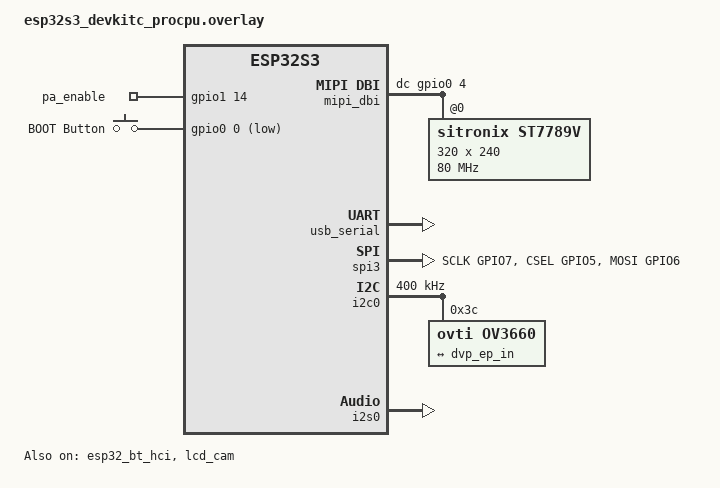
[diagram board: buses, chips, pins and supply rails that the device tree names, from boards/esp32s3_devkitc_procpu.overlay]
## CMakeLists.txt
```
cmake_minimum_required(VERSION 3.27)

# Force ninja to use response files for compile/link commands.
# Windows cmd.exe wraps long ninja commands ("cd /D ... && ...") and
# ccache+gcc lose track of -c source.c when the wrapped command exceeds
# ~8K characters. Response files (gcc @file syntax) keep cmd lines short.
set(CMAKE_NINJA_FORCE_RESPONSE_FILE 1 CACHE INTERNAL "")
if(POLICY CMP0151)
    cmake_policy(SET CMP0151 NEW)
endif()

find_package(Zephyr REQUIRED HINTS $ENV{ZEPHYR_BASE})
project(launcher_nes)

# ── Core sources (slim — no AI service / TLS / network) ──
target_sources(app PRIVATE
    src/main.c
    src/boot_splash.c
    src/app_manager.c
    src/launcher_ui.c
    src/ble_hid.c
    src/audio.c
    src/base64.c
)

# ── App sources (placeholders kept; only NES will eventually launch) ──
target_sources(app PRIVATE
    src/apps/app_ai_assistant.c
    src/apps/app_camera.c
    src/apps/app_nes.c
    src/apps/app_photos.c
    src/apps/app_terminal.c
    src/apps/app_music.c
    src/apps/app_face.c
    src/apps/app_imu.c
)

# ── Embed 30s PCM clip into firmware as a C array (used by app_music) ──
generate_inc_file_for_target(
    app
    src/apps/song1_30s.pcm
    ${ZEPHYR_BINARY_DIR}/include/generated/song1_30s.pcm.inc
)

# ──────────────────────────────────────────────────────────────────────────────
#  NES emulator (nofrendo) integration
#  Step 2: compile-only verification — sources are pulled into the link via
#  a forced reference in main.c, but nofrendo_main() is NEVER actually called
#  yet. HOME launcher must keep working as before. Real launching of NES from
#  the icon is the next step.
# ──────────────────────────────────────────────────────────────────────────────

# nofrendo source location (from west-managed esp32-nesemu)
get_filename_component(WEST_TOPDIR ${ZEPHYR_BASE} DIRECTORY)
set(NOFRENDO_DIR ${WEST_TOPDIR}/modules/esp32-nesemu/components/nofrendo)

if(NOT IS_DIRECTORY "${NOFRENDO_DIR}")
    message(FATAL_ERROR
        "nofrendo not found at ${NOFRENDO_DIR}\n"
        "Run:  west update\n"
        "Or:   git clone https://github.com/espressif/esp32-nesemu "
        "${WEST_TOPDIR}/modules/esp32-nesemu")
endif()

# Collect all nofrendo .c sources
file(GLOB NOFRENDO_SRCS_ROOT  "${NOFRENDO_DIR}/*.c")
file(GLOB NOFRENDO_SRCS_CPU   "${NOFRENDO_DIR}/cpu/*.c")
file(GLOB NOFRENDO_SRCS_SNSS  "${NOFRENDO_DIR}/libsnss/*.c")
file(GLOB NOFRENDO_SRCS_MAP   "${NOFRENDO_DIR}/mappers/*.c")
file(GLOB NOFRENDO_SRCS_NES   "${NOFRENDO_DIR}/nes/*.c")
file(GLOB NOFRENDO_SRCS_SND   "${NOFRENDO_DIR}/sndhrdw/*.c")

set(NOFRENDO_SRCS
    ${NOFRENDO_SRCS_ROOT}
    ${NOFRENDO_SRCS_CPU}
    ${NOFRENDO_SRCS_SNSS}
    ${NOFRENDO_SRCS_MAP}
    ${NOFRENDO_SRCS_NES}
    ${NOFRENDO_SRCS_SND})

# Exclude config.c — we rely on osd.c stub for config_t.
# Exclude log.c — its log_init() conflicts with Zephyr CONFIG_LOG=y.
# Exclude memguard.c — replaced by src/nes/memguard.h shadow that maps
# malloc/free/strdup to picolibc directly (no _my_malloc indirection).
list(FILTER NOFRENDO_SRCS EXCLUDE REGEX "config\\.c$")
list(FILTER NOFRENDO_SRCS EXCLUDE REGEX "log\\.c$")
list(FILTER NOFRENDO_SRCS EXCLUDE REGEX "memguard\\.c$")

# nofrendo public include directories
set(NOFRENDO_INCS
    ${NOFRENDO_DIR}
    ${NOFRENDO_DIR}/cpu
    ${NOFRENDO_DIR}/libsnss
    ${NOFRENDO_DIR}/mappers
    ${NOFRENDO_DIR}/nes
    ${NOFRENDO_DIR}/sndhrdw)

# NES ROM binary embedded via INCBIN
set(NES_ROM_FILE "${CMAKE_CURRENT_LIST_DIR}/rom/sbp.nes")
if(NOT EXISTS "${NES_ROM_FILE}")
    message(FATAL_ERROR "NES ROM not found: ${NES_ROM_FILE}")
endif()

configure_file(
    ${CMAKE_CURRENT_LIST_DIR}/src/nes/rom.S.in
    ${CMAKE_CURRENT_BINARY_DIR}/rom.S
    @ONLY)

# Add nofrendo + osd glue + ROM blob to the build
target_sources(app PRIVATE
    src/nes/osd.c
    src/nes/compat.c
    src/nes/log_wrap.c
    ${CMAKE_CURRENT_BINARY_DIR}/rom.S
    ${NOFRENDO_SRCS})

# Prepend our nes/ dir so noftypes.h shadows nofrendo's
target_include_directories(app BEFORE PRIVATE
    ${CMAKE_CURRENT_LIST_DIR}/src/nes
    ${CMAKE_CURRENT_LIST_DIR}/src)
target_include_directories(app PRIVATE ${NOFRENDO_INCS})

# Suppress all warnings for legacy nofrendo source.
# Note: log_init/log_shutdown are renamed to nf_log_init/nf_log_shutdown via
# our shadow src/nes/log.h (BEFORE-PRIVATE include path wins) — this avoids
# clashing with Zephyr's `void log_init(void)` symbol from CONFIG_LOG=y.
foreach(src ${NOFRENDO_SRCS})
    set_source_files_properties(${src} PROPERTIES COMPILE_FLAGS "-w")
endforeach()

target_compile_definitions(app PRIVATE HOST_LITTLE_ENDIAN=1)

# nofrendo's log_init/log_shutdown clash with Zephyr subsys/logging's
# `void log_init(void)` symbol. We use ld --wrap to redirect nofrendo's
# undefined references at link time to our __wrap_* stubs in log_wrap.c.
# This avoids per-file -D macros (Windows 32K cmdline limit) and avoids
# touching upstream nofrendo source.
zephyr_link_libraries("-Wl,--wrap=log_init" "-Wl,--wrap=log_shutdown")

set_source_files_properties(
    ${CMAKE_CURRENT_LIST_DIR}/src/nes/osd.c
    PROPERTIES COMPILE_FLAGS
    "-Wno-incompatible-pointer-types -Wno-builtin-macro-redefined")
```

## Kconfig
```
mainmenu "Launcher App Configuration"

config AI_AUTO_DEBUG
	bool "Auto-trigger AI TLS test on boot (debug mode)"
	default n
	help
	  When enabled, the AI service starts automatically on boot
	  and sends a minimal HTTP request to verify TLS connectivity,
	  without requiring a button press or UI interaction.

source "Kconfig.zephyr"
```

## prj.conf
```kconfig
# launcher_nes — slim launcher (no WiFi/AI/Camera) tailored for NES emulator
# Keep: Display, LVGL, BT HID Host, I2C/I2S, GPIO, Logging
# Drop: WiFi, Network, TLS, HTTP, Camera/Video, AI, Source Han font

# ── Console ──
CONFIG_PRINTK=y
CONFIG_CONSOLE=y
CONFIG_UART_CONSOLE=y
CONFIG_SERIAL=y
CONFIG_LOG=y
CONFIG_LOG_DEFAULT_LEVEL=3
CONFIG_LOG_BUFFER_SIZE=4096

# ── GPIO (backlight + PA + BOOT button) ──
CONFIG_GPIO=y

# ── I2C (codec config / IMU) ──
CONFIG_I2C=y

# ── I2S (audio TX/RX, retained for future NES sound) ──
CONFIG_I2S=y
CONFIG_DMA=y

# ── SPI + Display ──
CONFIG_SPI=y
CONFIG_DISPLAY=y
CONFIG_MIPI_DBI=y

# ── LVGL (HOME screen only — no Source Han font, no Camera/Photos heavy use) ──
CONFIG_LVGL=y
CONFIG_LV_Z_MEM_POOL_SIZE=20480
CONFIG_LV_USE_LOG=n
CONFIG_LV_FONT_MONTSERRAT_14=y
CONFIG_LV_FONT_MONTSERRAT_16=y
CONFIG_LV_FONT_MONTSERRAT_18=y
CONFIG_LV_FONT_MONTSERRAT_28=y
CONFIG_LV_COLOR_DEPTH_16=y
CONFIG_LV_COLOR_16_SWAP=y
CONFIG_LV_Z_VDB_SIZE=4
CONFIG_LV_USE_LABEL=y
CONFIG_LV_USE_BUTTON=y
CONFIG_LV_USE_IMAGE=y
CONFIG_LV_USE_THEME_DEFAULT=n
CONFIG_LV_USE_THEME_SIMPLE=y

# ── Bluetooth HID Host ──
CONFIG_BT=y
CONFIG_BT_CENTRAL=y
CONFIG_BT_SMP=y
CONFIG_BT_GATT_CLIENT=y
CONFIG_BT_GATT_AUTO_DISCOVER_CCC=y
CONFIG_BT_MAX_CONN=2
CONFIG_BT_MAX_PAIRED=4
CONFIG_BT_ATT_TX_COUNT=4
CONFIG_BT_L2CAP_TX_BUF_COUNT=4
CONFIG_BT_BUF_ACL_RX_SIZE=128
CONFIG_BT_BUF_ACL_TX_SIZE=128
CONFIG_BT_SMP_SC_ONLY=n
CONFIG_BT_SMP_SC_PAIR_ONLY=n
CONFIG_BT_SMP_ENFORCE_MITM=n
CONFIG_BT_SMP_ALLOW_UNAUTH_OVERWRITE=y
CONFIG_BT_KEYS_OVERWRITE_OLDEST=y
CONFIG_BT_BONDABLE=y
CONFIG_BT_LOG_LEVEL_WRN=y

# ── BT persistent settings: disabled to mirror original launcher behaviour
# (BT_SETTINGS forced unauth-overwrite + bond store path that triggered
#  Scan start failed -EAGAIN on this sample)
# CONFIG_BT_SETTINGS=y
# CONFIG_SETTINGS=y
# CONFIG_SETTINGS_NVS=y
CONFIG_NVS=y
CONFIG_FLASH=y
CONFIG_FLASH_MAP=y
CONFIG_FLASH_PAGE_LAYOUT=y

# ── POSIX (snprintf/strdup used by future nofrendo bridge) ──
CONFIG_POSIX_API=y

# ── Stack (16K is enough for nofrendo NES emulator + LVGL) ──
CONFIG_MAIN_STACK_SIZE=16384
CONFIG_SYSTEM_WORKQUEUE_STACK_SIZE=2048

# ── Heap ──
CONFIG_HEAP_MEM_POOL_SIZE=16384
# ── Console ──
CONFIG_PRINTK=y
CONFIG_CONSOLE=y
CONFIG_UART_CONSOLE=y
CONFIG_SERIAL=y
CONFIG_LOG=y
CONFIG_LOG_DEFAULT_LEVEL=3
CONFIG_LOG_BUFFER_SIZE=4096

# ── GPIO (backlight + PA + BOOT button) ──
CONFIG_GPIO=y

# ── I2C (ES8311 + ES7210 codec config) ──
CONFIG_I2C=y

# ── I2S (audio TX/RX) + DMA ──
CONFIG_I2S=y
CONFIG_DMA=y

# ── SPI + Display ──
CONFIG_SPI=y
CONFIG_DISPLAY=y
CONFIG_MIPI_DBI=y

# ── Camera (OV3660 via LCD-CAM parallel DVP) ──
CONFIG_VIDEO=y
CONFIG_VIDEO_BUFFER_POOL_NUM_MAX=2
CONFIG_VIDEO_BUFFER_POOL_ALIGN=32
CONFIG_VIDEO_BUFFER_USE_SHARED_MULTI_HEAP=y
CONFIG_VIDEO_BUFFER_SMH_ATTRIBUTE=2
CONFIG_DMA_ESP32_MAX_DESCRIPTOR_NUM=64
CONFIG_VIDEO_ESP32_DMA_BUFFER_MAX_SIZE=4092
CONFIG_VIDEO_OV3660_COLOR_BAR_TEST=n

# ── LVGL (pool must be >=24K for launcher UI objects) ──
CONFIG_LVGL=y
CONFIG_LV_Z_MEM_POOL_SIZE=20480
CONFIG_LV_USE_LOG=n
CONFIG_LV_FONT_MONTSERRAT_14=y
CONFIG_LV_FONT_MONTSERRAT_16=y
CONFIG_LV_FONT_MONTSERRAT_18=y
CONFIG_LV_FONT_MONTSERRAT_28=y
CONFIG_LV_FONT_SOURCE_HAN_SANS_SC_16_CJK=y
CONFIG_LV_COLOR_DEPTH_16=y
CONFIG_LV_COLOR_16_SWAP=y
CONFIG_LV_Z_VDB_SIZE=4
CONFIG_LV_USE_LABEL=y
CONFIG_LV_USE_BUTTON=y
CONFIG_LV_USE_IMAGE=y
# Disable default theme (adds shadows that crash on ESP32-S3 BLE+WiFi coex)
# Use simple theme instead — lightweight, no shadow rendering
CONFIG_LV_USE_THEME_DEFAULT=n
CONFIG_LV_USE_THEME_SIMPLE=y

# ── Bluetooth HID Host ──
CONFIG_BT=y
CONFIG_BT_CENTRAL=y
CONFIG_BT_SMP=y
CONFIG_BT_GATT_CLIENT=y
CONFIG_BT_GATT_AUTO_DISCOVER_CCC=y
CONFIG_BT_MAX_CONN=2
CONFIG_BT_MAX_PAIRED=4
CONFIG_BT_ATT_TX_COUNT=4
CONFIG_BT_L2CAP_TX_BUF_COUNT=4
CONFIG_BT_BUF_ACL_RX_SIZE=128
CONFIG_BT_BUF_ACL_TX_SIZE=128
CONFIG_BT_SMP_SC_ONLY=n
CONFIG_BT_SMP_SC_PAIR_ONLY=n
CONFIG_BT_SMP_ENFORCE_MITM=n
CONFIG_BT_SMP_ALLOW_UNAUTH_OVERWRITE=y
CONFIG_BT_KEYS_OVERWRITE_OLDEST=y
CONFIG_BT_BONDABLE=y
CONFIG_BT_LOG_LEVEL_WRN=y

# ── Networking ──
CONFIG_NETWORKING=y
CONFIG_NET_MGMT=y
CONFIG_NET_MGMT_EVENT=y
CONFIG_NET_MGMT_EVENT_INFO=y
CONFIG_NET_IPV4=y
CONFIG_NET_IPV6=n
CONFIG_NET_TCP=y
CONFIG_NET_UDP=y
CONFIG_NET_DHCPV4=y
CONFIG_NET_SOCKETS=y
CONFIG_POSIX_API=y

# ── WiFi (SPIRAM alloc saves DRAM for BLE+WiFi coexistence) ──
CONFIG_WIFI=y
CONFIG_WIFI_NM=y
CONFIG_NET_L2_WIFI_MGMT=y
CONFIG_ESP32_WIFI_STA_AUTO_DHCPV4=y
CONFIG_ESP32_WIFI_STATIC_RX_BUFFER_NUM=4
CONFIG_ESP32_WIFI_DYNAMIC_RX_BUFFER_NUM=8
CONFIG_ESP32_WIFI_DYNAMIC_TX_BUFFER_NUM=8
CONFIG_ESP32_WIFI_NET_ALLOC_SPIRAM=y
# Route wifi_malloc/wifi_calloc to PSRAM instead of system heap (k_malloc)
# Critical for BLE+WiFi coexistence: prevents 16KB DRAM heap exhaustion
CONFIG_ESP_WIFI_HEAP_SPIRAM=y

# ── DNS ──
CONFIG_DNS_RESOLVER=y
CONFIG_DNS_RESOLVER_AI_MAX_ENTRIES=2

# ── HTTP client ──
CONFIG_HTTP_CLIENT=y

# ── TLS / mbedTLS ──
CONFIG_MBEDTLS=y
CONFIG_MBEDTLS_BUILTIN=y
CONFIG_MBEDTLS_ENABLE_HEAP=y
CONFIG_MBEDTLS_HEAP_CUSTOM_SECTION=y
CONFIG_MBEDTLS_HEAP_SIZE=65536
CONFIG_MBEDTLS_SSL_MAX_CONTENT_LEN=16384
CONFIG_MBEDTLS_SSL_EXTENDED_MASTER_SECRET=n
CONFIG_MBEDTLS_SSL_CLIENT_COMPRESSED_POINT_FORMATS=y
CONFIG_MBEDTLS_PEM_CERTIFICATE_FORMAT=y
CONFIG_MBEDTLS_CIPHER_GCM_ENABLED=y
CONFIG_PSA_WANT_ALG_GCM=y
CONFIG_PSA_WANT_ALG_RSA_PSS=y
CONFIG_PSA_WANT_ALG_SHA_256=y
CONFIG_PSA_WANT_ALG_TLS12_PRF=y
CONFIG_PSA_WANT_ALG_HMAC=y
CONFIG_PSA_WANT_KEY_TYPE_DERIVE=y
CONFIG_MBEDTLS_KEY_EXCHANGE_ECDHE_RSA_ENABLED=y
CONFIG_MBEDTLS_KEY_EXCHANGE_RSA_ENABLED=y
CONFIG_MBEDTLS_ECP_DP_SECP256R1_ENABLED=y
CONFIG_MBEDTLS_ECP_DP_SECP384R1_ENABLED=y
CONFIG_MBEDTLS_ECDH_C=y
CONFIG_MBEDTLS_ECP_C=y
CONFIG_NET_SOCKETS_SOCKOPT_TLS=y
CONFIG_NET_SOCKETS_TLS_CERT_VERIFY_CALLBACK=y
CONFIG_NET_SOCKETS_TLS_MAX_CONTEXTS=2
CONFIG_MBEDTLS_SERVER_NAME_INDICATION=y
# mbedTLS debug: enable only when debugging TLS handshake
# CONFIG_MBEDTLS_DEBUG=y
# CONFIG_MBEDTLS_LOG_LEVEL_DBG=y
# Disable P256M hardware driver to avoid partial ECC acceleration
# conflict when BLE SMP + TLS coexist (P-256 accelerated, P-384 not)
CONFIG_MBEDTLS_PSA_P256M_DRIVER_ENABLED=n
# CONFIG_NET_SOCKETS_LOG_LEVEL_DBG=y

# ── (Legacy AI section MAIN_STACK_SIZE kept commented; effective value above) ──
# CONFIG_MAIN_STACK_SIZE=5120
CONFIG_SYSTEM_WORKQUEUE_STACK_SIZE=2048
CONFIG_NET_TX_STACK_SIZE=1024
CONFIG_NET_RX_STACK_SIZE=1024
CONFIG_NET_MGMT_EVENT_STACK_SIZE=4096
CONFIG_NET_PKT_RX_COUNT=24
CONFIG_NET_PKT_TX_COUNT=10
CONFIG_NET_BUF_RX_COUNT=64
CONFIG_NET_BUF_TX_COUNT=24
CONFIG_NET_MAX_CONTEXTS=6

# ── Boost TCP/TLS receive throughput for qwen-tts-realtime audio deltas ──
# Server sends ~20KB chunks back-to-back; default 4KB TLS record + small TCP
# window starves the pipe. Observed: PC finishes in 620ms, ESP32 in 58s.
CONFIG_MBEDTLS_SSL_MAX_CONTENT_LEN=16384
CONFIG_NET_TCP_MAX_RECV_WINDOW_SIZE=32768
# Larger net_buf fragment so the *effective* TCP RX window approaches what we
# advertise. Default 128 caps real window to ~RX_COUNT*128/3 bytes. Set to
# 256 (not 512) to keep DRAM headroom on this board (84% DRAM baseline).
CONFIG_NET_BUF_DATA_SIZE=256

# ── WiFi RX path: more HW DMA buffers + larger BA window (PSRAM build) ──
# Default static=4 / dynamic=8 drops frames at the WiFi MAC layer under any
# real load. Constraint: RX_BA_WIN <= 2 * STATIC_RX_BUFFER_NUM (HAL check).
# Espressif-defaults static=10/dynamic=32 caused boot hang here — use the
# smallest values that satisfy BA_WIN=16 and still double the buffers.
CONFIG_ESP32_WIFI_STATIC_RX_BUFFER_NUM=8
CONFIG_ESP32_WIFI_DYNAMIC_RX_BUFFER_NUM=16
CONFIG_ESP32_WIFI_RX_BA_WIN=16
CONFIG_ESP32_WIFI_TX_BA_WIN=16
# Place WiFi TX/RX hot path in IRAM to avoid Flash cache misses on every pkt.
# (Disabled: caused boot hang on this board, likely IRAM/BLE conflict.)
# CONFIG_ESP32_WIFI_IRAM_OPT=y
# CONFIG_ESP32_WIFI_RX_IRAM_OPT=y

CONFIG_NET_MGMT_EVENT_QUEUE_TIMEOUT=5000
CONFIG_NET_MGMT_EVENT_QUEUE_SIZE=16

# ── Heap ──
CONFIG_HEAP_MEM_POOL_SIZE=16384


CONFIG_REBOOT=y
```

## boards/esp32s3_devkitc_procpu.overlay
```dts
/* CHD-ESP32-S3-BOX Launcher: Unified DTS Overlay
 *
 * Merges: LCD (SPI3) + BLE HCI + I2C0 + I2S0 + PA + BOOT Button + USB Console
 *
 * Phase 1: LCD + BLE only (I2C/I2S/Camera nodes present but used in later phases)
 */

#include <zephyr/dt-bindings/pinctrl/esp-pinctrl-common.h>
#include <dt-bindings/pinctrl/esp32s3-pinctrl.h>
#include <zephyr/dt-bindings/pinctrl/esp32s3-gpio-sigmap.h>
#include <zephyr/dt-bindings/mipi_dbi/mipi_dbi.h>

/ {
	chosen {
		zephyr,console = &usb_serial;
		zephyr,shell-uart = &usb_serial;
		zephyr,display = &st7789v;
		zephyr,camera = &lcd_cam;
	};

	/* ── LCD: ST7789V 320x240 SPI ── */
	mipi_dbi {
		compatible = "zephyr,mipi-dbi-spi";
		dc-gpios = <&gpio0 4 GPIO_ACTIVE_HIGH>;
		spi-dev = <&spi3>;
		write-only;
		#address-cells = <1>;
		#size-cells = <0>;

		st7789v: st7789v@0 {
			compatible = "sitronix,st7789v";
			mipi-max-frequency = <80000000>;
			reg = <0>;
			width = <320>;
			height = <240>;
			x-offset = <0>;
			y-offset = <0>;
			vcom = <0x19>;
			gctrl = <0x35>;
			vrhs = <0x12>;
			vdvs = <0x20>;
			mdac = <0x60>;
			gamma = <0x01>;
			colmod = <0x55>;
			inversion-off;
			lcm = <0x2c>;
			porch-param = [0c 0c 00 33 33];
			cmd2en-param = [5a 69 02 01];
			pwctrl1-param = [a4 a1];
			pvgam-param = [D0 04 0D 11 13 2B 3F 54 4C 18 0D 0B 1F 23];
			nvgam-param = [D0 04 0C 11 13 2C 3F 44 51 2F 1F 1F 20 23];
			ram-param = [00 F0];
			rgb-param = [CD 08 14];
			mipi-mode = "MIPI_DBI_MODE_SPI_4WIRE";
		};
	};

	/* ── PA enable (IO46 = gpio1 pin 14) ── */
	leds {
		compatible = "gpio-leds";
		pa_enable: pa {
			gpios = <&gpio1 14 GPIO_ACTIVE_HIGH>;
		};
	};

	/* ── BOOT button (IO0, push-to-talk / SD_CMD conflict) ── */
	buttons {
		compatible = "gpio-keys";
		boot_button: boot_button {
			gpios = <&gpio0 0 (GPIO_PULL_UP | GPIO_ACTIVE_LOW)>;
			label = "BOOT Button";
		};
	};

	aliases {
		sw0 = &boot_button;
	};
};

/* ── USB Serial Console ── */
&usb_serial {
	status = "okay";
};

/* ── BLE HCI ── */
&esp32_bt_hci {
	status = "okay";
};

/* ── Pin Control ── */
&pinctrl {
	/* SPI3: LCD (SCK=IO7, CS=IO5, MOSI=IO6) */
	spim3_default: spim3_default {
		group1 {
			pinmux = <SPIM3_SCLK_GPIO7>,
				 <SPIM3_CSEL_GPIO5>;
		};
		group2 {
			pinmux = <SPIM3_MOSI_GPIO6>;
			output-low;
		};
	};

	/* I2C0: ES8311(0x18) + ES7210(0x40) + OV3660(0x3C) + ICM-42607 */
	i2c0_default: i2c0_default {
		group1 {
			pinmux = <I2C0_SDA_GPIO8>,
				 <I2C0_SCL_GPIO18>;
			bias-pull-up;
			drive-open-drain;
			output-high;
		};
	};

	/* LCD-CAM peripheral pins (parallel DVP + PCLK + CAMCLK) */
	lcd_cam_default: lcd_cam_default {
		group1 {
			pinmux = <LCD_CAM_CAM_CLK_GPIO39>;
			output-enable;
		};
		group2 {
			pinmux = <LCD_CAM_V_SYNC_CAM_GPIO42>,
				 <LCD_CAM_H_ENABLE_CAM_GPIO41>,
				 <LCD_CAM_CAM_PCLK_GPIO14>,
				 <LCD_CAM_DATA_IN0_GPIO12>,
				 <LCD_CAM_DATA_IN1_GPIO10>,
				 <LCD_CAM_DATA_IN2_GPIO9>,
				 <LCD_CAM_DATA_IN3_GPIO11>,
				 <LCD_CAM_DATA_IN4_GPIO13>,
				 <LCD_CAM_DATA_IN5_GPIO21>,
				 <LCD_CAM_DATA_IN6_GPIO38>,
				 <LCD_CAM_DATA_IN7_GPIO40>;
			input-enable;
			bias-disable;
		};
	};

	/* I2S0: Audio (MCLK=IO2, BCLK=IO17, WS=IO45, DOUT=IO15, DIN=IO16) */
	i2s0_default: i2s0_default {
		group1 {
			pinmux = <I2S0_MCLK_GPIO2>,
				 <I2S0_O_WS_GPIO45>,
				 <I2S0_O_BCK_GPIO17>,
				 <I2S0_O_SD_GPIO15>;
			output-enable;
		};
		group2 {
			pinmux = <I2S0_I_SD_GPIO16>;
			input-enable;
		};
	};
};

/* ── SPI3: LCD ── */
&spi3 {
	#address-cells = <1>;
	#size-cells = <0>;
	status = "okay";
	pinctrl-0 = <&spim3_default>;
	pinctrl-names = "default";
};

/* ── I2C0: Shared bus ── */
&i2c0 {
	status = "okay";
	clock-frequency = <I2C_BITRATE_FAST>;
	pinctrl-0 = <&i2c0_default>;
	pinctrl-names = "default";

	ov3660: ov3660@3c {
		compatible = "ovti,ov3660";
		reg = <0x3c>;
		status = "okay";

		port {
			ov3660_ep_out: endpoint {
				remote-endpoint = <&dvp_ep_in>;
			};
		};
	};
};

/* ── LCD-CAM (DVP camera capture) ── */
&lcd_cam {
	status = "okay";
	cam-clk = <16000000>;
	pinctrl-0 = <&lcd_cam_default>;
	pinctrl-names = "default";
	source = <&ov3660>;
	dmas = <&dma 2>;
	dma-names = "rx";

	port {
		dvp_ep_in: endpoint {
			remote-endpoint = <&ov3660_ep_out>;
		};
	};
};

/* ── I2S0: Audio TX/RX ── */
i2s_rxtx: &i2s0 {
	pinctrl-0 = <&i2s0_default>;
	pinctrl-names = "default";
	status = "okay";
};

/* ── DMA (for I2S + Camera) ── */
&dma {
	status = "okay";
};
```

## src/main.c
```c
/*
 * CHD-ESP32-S3-BOX Launcher — main entry point
 *
 * Flow:
 *   1. Backlight ON
 *   2. BLE HID Host init (async scanning)
 *   3. Register all app modules
 *   4. Build launcher home screen (icon grid)
 *   5. LVGL main loop + mouse/keyboard input processing
 *
 * ESC key or right-click → back to home screen
 */

#include <zephyr/kernel.h>
#include <zephyr/device.h>
#include <zephyr/devicetree.h>
#include <zephyr/drivers/display.h>
#include <zephyr/drivers/gpio.h>
#include <lvgl.h>

#include "resource.h"
#include "ble_hid.h"
#include "app_manager.h"
#include "launcher_ui.h"
/* AI service removed in launcher_nes */
#include "boot_splash.h"

/* ── App module declarations ─────────────────────────── */

extern const app_info_t app_ai_assistant;
extern const app_info_t app_camera;
extern const app_info_t app_nes;
extern const app_info_t app_photos;
extern const app_info_t app_terminal;
extern const app_info_t app_music;
extern const app_info_t app_face;
extern const app_info_t app_imu;


/* ── LVGL Mouse input read callback ──────────────────── */

static void mouse_read_cb(lv_indev_t *indev, lv_indev_data_t *data)
{
	data->point.x = g_mouse.x;
	data->point.y = g_mouse.y;
	data->state = (g_mouse.buttons & 0x01)
		      ? LV_INDEV_STATE_PRESSED
		      : LV_INDEV_STATE_RELEASED;
}

/* ── LVGL Keyboard input read callback ──────────────── */

static uint32_t last_key;
static lv_indev_state_t last_state = LV_INDEV_STATE_RELEASED;

static void kb_read_cb(lv_indev_t *indev, lv_indev_data_t *data)
{
	struct kb_event evt;

	if (k_msgq_get(&kb_events, &evt, K_NO_WAIT) == 0) {
		last_key = evt.key;
		last_state = evt.pressed ? LV_INDEV_STATE_PRESSED
					: LV_INDEV_STATE_RELEASED;
	}
	data->key = last_key;
	data->state = last_state;
}

/* ── Global navigation: ESC / right-click → home ───── */

static void check_global_nav(void)
{
	if (!app_manager_is_app_active()) {
		return;
	}

	/* Right-click (button bit 1) → back to home */
	static bool prev_rclick;
	bool rclick = (g_mouse.buttons & 0x02) != 0;
	if (rclick && !prev_rclick) {
		app_manager_back_to_home();
	}
	prev_rclick = rclick;

	/* ESC key is handled via keyboard group event (LV_KEY_ESC = 27) */
	/* We check the msgq peek for ESC specifically */
	struct kb_event evt;
	if (k_msgq_peek(&kb_events, &evt) == 0) {
		if (evt.key == 27 && evt.pressed) {
			/* Consume the ESC event */
			k_msgq_get(&kb_events, &evt, K_NO_WAIT);
			app_manager_back_to_home();
		}
	}
}

/* ── Main ────────────────────────────────────────────── */

int main(void)
{
	printk("\n=== CHD-ESP32-S3-BOX Launcher ===\n");

	/* 1. Backlight ON (IO47 = GPIO1 pin 15) */
	const struct device *gpio1 = DEVICE_DT_GET(BLK_NODE);
	if (device_is_ready(gpio1)) {
		gpio_pin_configure(gpio1, BLK_PIN, GPIO_OUTPUT_ACTIVE);
		gpio_pin_set(gpio1, BLK_PIN, 1);
		printk("[HW] Backlight ON\n");
	}

	/* 2. Display device */
	const struct device *display = DEVICE_DT_GET(DT_CHOSEN(zephyr_display));
	if (!device_is_ready(display)) {
		printk("ERROR: Display not ready!\n");
		return 0;
	}

	/* 3. Init mouse to screen center */
	g_mouse.x = SCREEN_WIDTH / 2;
	g_mouse.y = SCREEN_HEIGHT / 2;

	/* 4. BLE HID Host (async — callbacks handle connection) */
	ble_hid_init();

	/* 5. LVGL Mouse Input */
	lv_indev_t *mouse_indev = lv_indev_create();
	lv_indev_set_type(mouse_indev, LV_INDEV_TYPE_POINTER);
	lv_indev_set_read_cb(mouse_indev, mouse_read_cb);

	/* Mouse cursor: red circle with white border */
	lv_obj_t *cursor = lv_obj_create(lv_layer_top());
	lv_obj_remove_style_all(cursor);
	lv_obj_set_size(cursor, 12, 12);
	lv_obj_set_style_radius(cursor, LV_RADIUS_CIRCLE, 0);
	lv_obj_set_style_bg_color(cursor, lv_palette_main(LV_PALETTE_RED), 0);
	lv_obj_set_style_bg_opa(cursor, LV_OPA_COVER, 0);
	lv_obj_set_style_border_width(cursor, 2, 0);
	lv_obj_set_style_border_color(cursor, lv_color_white(), 0);
	lv_indev_set_cursor(mouse_indev, cursor);
	/* Hide cursor during boot splash; revealed after launcher home loads */
	lv_obj_add_flag(cursor, LV_OBJ_FLAG_HIDDEN);

	/* 6. LVGL Keyboard Input */
	lv_indev_t *kb_indev = lv_indev_create();
	lv_indev_set_type(kb_indev, LV_INDEV_TYPE_KEYPAD);
	lv_indev_set_read_cb(kb_indev, kb_read_cb);

	lv_group_t *group = lv_group_create();
	lv_indev_set_group(kb_indev, group);
	app_manager_set_kb_group(group);

	/* 6.5 First render so display is initialized, then turn backlight visible */
	lv_timer_handler();
	display_blanking_off(display);

	/* 6.6 Linux-style dmesg boot splash (~2.5s, blocking) */
	boot_splash_run(display);

	/* 7. Register all apps */
	app_manager_register(&app_ai_assistant);
	app_manager_register(&app_camera);
	app_manager_register(&app_nes);
	app_manager_register(&app_photos);
	app_manager_register(&app_terminal);
	app_manager_register(&app_music);
	app_manager_register(&app_face);
	app_manager_register(&app_imu);

	/* 8. Build launcher home screen */
	launcher_ui_init();

	/* Splash done -- show mouse cursor now */
	lv_obj_clear_flag(cursor, LV_OBJ_FLAG_HIDDEN);

#if defined(CONFIG_AI_AUTO_DEBUG)
	/* AI service stripped in launcher_nes */
#endif

	/* 9. First render of launcher home (display already on after splash) */
	lv_timer_handler();
	printk("[Launcher] Running...\n");

	/* ── Main loop ──────────────────────────────────── */
	while (1) {
		/* Global navigation check */
		check_global_nav();

		/* Status bar: BLE-only (no WiFi in launcher_nes) */
		if (g_mouse.connected && g_kb_connected) {
			launcher_ui_update_status("Mouse+KB");
		} else if (g_mouse.connected) {
			char buf[48];
			snprintf(buf, sizeof(buf), "M: %s", g_mouse.name);
			launcher_ui_update_status(buf);
		} else if (g_kb_connected) {
			launcher_ui_update_status("KB only");
		} else {
			launcher_ui_update_status("BLE: Scanning...");
		}

		/* LVGL tick */
		uint32_t sleep_ms = lv_timer_handler();
		k_msleep(MIN(sleep_ms, 33));  /* Cap at ~30 FPS */
	}
}
```

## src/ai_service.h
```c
/*
 * ai_service.h — AI voice assistant backend service
 *
 * Manages WiFi connection, audio codecs, recording, TLS/SSE to DashScope,
 * streaming playback, and chat message history. Runs in a dedicated thread.
 */

#ifndef AI_SERVICE_H
#define AI_SERVICE_H

#include <stdbool.h>
#include <stddef.h>

/* AI service states */
enum ai_state {
	AI_STATE_INIT,
	AI_STATE_WIFI_CONNECTING,
	AI_STATE_READY,
	AI_STATE_RECORDING,
	AI_STATE_PROCESSING,
	AI_STATE_STREAMING,
	AI_STATE_PLAYING,
	AI_STATE_ERROR,
};

/* Chat message */
#define AI_MAX_MESSAGES  20
#define AI_MSG_TEXT_SIZE  512

struct ai_chat_msg {
	bool is_user;
	char text[AI_MSG_TEXT_SIZE];
};

/* Initialize AI service (starts background thread: WiFi + audio + BOOT btn).
 * Safe to call once; subsequent calls are no-ops. */
int ai_service_init(void);

/* Get current state */
enum ai_state ai_service_get_state(void);

/* Trigger recording start (from UI mic button).
 * Only effective when state == AI_STATE_READY. */
void ai_service_start_recording(void);

/* Signal recording stop (from UI mic button or BOOT release). */
void ai_service_stop_recording(void);

/* Chat history access (thread-safe reads) */
int ai_service_get_msg_count(void);
const struct ai_chat_msg *ai_service_get_msg(int idx);

/* Live streaming response text (updated during STREAMING state) */
const char *ai_service_get_live_text(void);
size_t ai_service_get_live_text_len(void);

/* WiFi status */
bool ai_service_wifi_connected(void);

#endif /* AI_SERVICE_H */
```

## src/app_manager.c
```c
/*
 * app_manager.c — Application lifecycle manager
 */

#include <zephyr/kernel.h>
#include <zephyr/sys/printk.h>
#include <lvgl.h>
#include "app_manager.h"

static app_info_t apps[APP_MAX_COUNT];
static int app_count;
static int current_app = -1;  /* -1 = home screen */
static lv_obj_t *home_screen;
static lv_obj_t *app_screen;
static lv_group_t *kb_group;

int app_manager_register(const app_info_t *app)
{
	if (app_count >= APP_MAX_COUNT) {
		printk("[AppMgr] Max apps reached\n");
		return -1;
	}
	apps[app_count] = *app;
	printk("[AppMgr] Registered: %s (id=%d)\n", app->name, app_count);
	app_count++;
	return app_count - 1;
}

int app_manager_get_count(void)
{
	return app_count;
}

const app_info_t *app_manager_get(int id)
{
	if (id < 0 || id >= app_count) {
		return NULL;
	}
	return &apps[id];
}

void app_manager_launch(int app_id)
{
	if (app_id < 0 || app_id >= app_count) {
		return;
	}

	/* If another app is active, destroy it first */
	if (current_app >= 0 && apps[current_app].on_destroy) {
		apps[current_app].on_destroy();
	}
	if (app_screen) {
		lv_obj_delete(app_screen);
		app_screen = NULL;
	}

	/* Create new screen for the app */
	app_screen = lv_obj_create(NULL);
	lv_obj_set_style_bg_color(app_screen, lv_color_hex(0x1a1a2e), 0);
	lv_obj_set_style_bg_opa(app_screen, LV_OPA_COVER, 0);

	current_app = app_id;
	printk("[AppMgr] Launching: %s\n", apps[app_id].name);

	/* Clear keyboard group and let app populate it */
	if (kb_group) {
		lv_group_remove_all_objs(kb_group);
	}

	/* Let app build its UI */
	if (apps[app_id].on_create) {
		apps[app_id].on_create(app_screen);
	}

	/* Switch to app screen */
	lv_screen_load(app_screen);
}

void app_manager_back_to_home(void)
{
	if (current_app < 0) {
		return;  /* Already home */
	}

	printk("[AppMgr] Back to home (from: %s)\n", apps[current_app].name);

	/* Destroy current app */
	if (apps[current_app].on_destroy) {
		apps[current_app].on_destroy();
	}
	current_app = -1;

	if (app_screen) {
		lv_obj_delete(app_screen);
		app_screen = NULL;
	}

	/* Clear keyboard group — launcher_ui will repopulate */
	if (kb_group) {
		lv_group_remove_all_objs(kb_group);
	}

	/* Switch back to home */
	if (home_screen) {
		lv_screen_load(home_screen);
	}
}

bool app_manager_is_app_active(void)
{
	return current_app >= 0;
}

void app_manager_set_home_screen(lv_obj_t *home)
{
	home_screen = home;
}

void app_manager_set_kb_group(lv_group_t *group)
{
	kb_group = group;
}

lv_group_t *app_manager_get_kb_group(void)
{
	return kb_group;
}
```

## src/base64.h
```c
/*
 * base64.h — Base64 encode/decode for audio data
 */
#ifndef BASE64_H
#define BASE64_H

#include <stdint.h>
#include <stddef.h>

/* Encode binary data to base64 string.
 * out_buf must be at least ((in_len + 2) / 3) * 4 + 1 bytes.
 * Returns length of encoded string (not counting NUL). */
size_t base64_encode(const uint8_t *in, size_t in_len,
		     char *out, size_t out_max);

/* Decode base64 string to binary data.
 * out_buf must be at least (in_len / 4) * 3 bytes.
 * Returns number of decoded bytes, or negative on error. */
int base64_decode(const char *in, size_t in_len,
		  uint8_t *out, size_t out_max);

#endif /* BASE64_H */
```

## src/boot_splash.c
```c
/*
 * Linux-style dmesg boot splash.
 * - Black background, green monospace text
 * - Fake plausible kernel log lines with rising timestamps and [ OK ]/[FAIL]/[WARN] tags
 * - Lines are appended every ~LINE_PERIOD_MS via lv_timer_handler loop
 * - Returns after all lines are printed + a short hold
 */

#include "boot_splash.h"

#include <zephyr/kernel.h>
#include <zephyr/drivers/display.h>
#include <stdio.h>
#include <string.h>
#include <lvgl.h>

#define LINE_PERIOD_MS  60      /* delay between lines */
#define HOLD_MS         400     /* extra dwell after last line */

/* Color tag helpers -- LVGL textarea supports recolor via lv_label set, but
 * for textarea we keep monochrome green and embed [ OK ] etc as plain text.
 * Keep it simple: one fg color for everything.
 */

struct boot_line {
	const char *text;       /* "%t" placeholder is replaced with timestamp */
	uint32_t    bump_ms;    /* fake elapsed-ms increment for this line */
};

static const struct boot_line k_lines[] = {
	{ "[%t] Booting CHD-ESP32-S3-BOX (Zephyr RTOS)",                    0   },
	{ "[%t] CPU0: Xtensa LX7 @ 240 MHz",                                15  },
	{ "[%t] CPU1: Xtensa LX7 @ 240 MHz",                                3   },
	{ "[%t] Memory: 320 KiB SRAM + 8 MiB PSRAM (octal, 80MHz)",         12  },
	{ "[%t] Flash: 16 MiB QIO @ 80MHz                          [ OK ]", 22  },
	{ "[%t] PSRAM probe...                                     [ OK ]", 41  },
	{ "[%t] mmu: mapped EXT_RAM .data + heap                   [ OK ]", 8   },
	{ "[%t] gpio@60004000: 22 pins ready                       [ OK ]", 31  },
	{ "[%t] i2c@60013000: bus0 @ 400kHz                        [ OK ]", 14  },
	{ "[%t] spi3: octal-PSRAM controller bound                 [ OK ]", 9   },
	{ "[%t] lcd-cam: ST7789V 240x320, RGB565                   [ OK ]", 27  },
	{ "[%t] backlight: PWM IO47 -> 100%                        [ OK ]", 11  },
	{ "[%t] fs/littlefs: mounting /lfs ...                     [ OK ]", 19  },
	{ "[%t] codec: ES7210 ADC @ 16kHz mono                     [ OK ]", 17  },
	{ "[%t] codec: ES8311 DAC @ 44.1kHz stereo                 [ OK ]", 12  },
	{ "[%t] i2s0: bound to ES8311                              [ OK ]", 8   },
	{ "[%t] WiFi: phy_init, country=CN, channel=1..13          [ OK ]", 33  },
	{ "[%t] WiFi: held off  (LCD-CAM bus contention)           [WARN]", 7   },
	{ "[%t] Bluetooth: HCI ESP32 controller v4.2               [ OK ]", 24  },
	{ "[%t] Bluetooth: SMP/IRK loaded from settings            [ OK ]", 11  },
	{ "[%t] Bluetooth: HID-Host service registered             [ OK ]", 9   },
	{ "[%t] LVGL 9.x: tick=10ms, double-buffer DMA             [ OK ]", 18  },
	{ "[%t] systemd-launcher[1]: registering 8 apps...         [ OK ]", 26  },
	{ "[%t]   * AI / Camera / NES / Photos / Term / Music ...  [ OK ]", 5   },
	{ "[%t]   * Face / IMU                                     [ OK ]", 4   },
	{ "[%t] launcher_ui: building icon grid                    [ OK ]", 13  },
	{ "[%t] reached target: graphical.target                   [ OK ]", 21  },
	{ "[%t] welcome to CHD-OS  (tty1 ready)",                            7  },
};

#define LINE_COUNT (sizeof(k_lines) / sizeof(k_lines[0]))

static void format_line(const struct boot_line *l, uint32_t ts_us, char *out, size_t outsz)
{
	char ts[16];
	uint32_t sec = ts_us / 1000000U;
	uint32_t us  = ts_us % 1000000U;
	snprintf(ts, sizeof(ts), "%4u.%06u", sec, us);

	/* Replace first occurrence of "%t" with the timestamp. */
	const char *p = strstr(l->text, "%t");
	if (!p) {
		snprintf(out, outsz, "%s", l->text);
		return;
	}
	size_t prefix = (size_t)(p - l->text);
	if (prefix >= outsz) {
		prefix = outsz - 1;
	}
	memcpy(out, l->text, prefix);
	out[prefix] = '\0';
	size_t left = outsz - prefix;
	snprintf(out + prefix, left, "%s%s", ts, p + 2);
}

void boot_splash_run(const struct device *display)
{
	(void)display;

	/* Fullscreen black canvas */
	lv_obj_t *scr = lv_obj_create(NULL);
	lv_obj_remove_style_all(scr);
	lv_obj_set_size(scr, LV_PCT(100), LV_PCT(100));
	lv_obj_set_style_bg_color(scr, lv_color_black(), 0);
	lv_obj_set_style_bg_opa(scr, LV_OPA_COVER, 0);
	lv_screen_load(scr);

	/* Log textarea: full-screen, black bg, green text, no scrollbar visual */
	lv_obj_t *log = lv_textarea_create(scr);
	lv_obj_remove_style_all(log);
	lv_obj_set_size(log, LV_PCT(100), LV_PCT(100));
	lv_obj_set_style_bg_color(log, lv_color_black(), 0);
	lv_obj_set_style_bg_opa(log, LV_OPA_COVER, 0);
	lv_obj_set_style_text_color(log, lv_color_hex(0x00FF00), 0);
	lv_obj_set_style_text_font(log, &lv_font_montserrat_14, 0);
	lv_obj_set_style_pad_all(log, 4, 0);
	lv_obj_set_style_border_width(log, 0, 0);
	lv_textarea_set_one_line(log, false);
	lv_textarea_set_cursor_click_pos(log, false);
	lv_obj_clear_flag(log, LV_OBJ_FLAG_CLICKABLE);
	lv_obj_clear_flag(log, LV_OBJ_FLAG_SCROLL_ELASTIC);
	/* Hide cursor by setting opacity to 0 */
	lv_obj_set_style_opa(log, LV_OPA_TRANSP, LV_PART_CURSOR);

	/* Initial header */
	lv_textarea_add_text(log,
		"CHD-OS 1.0.0 (zephyr-4.x) on esp32s3 - tty1\n\n");

	uint32_t fake_us = 1234U;       /* start at ~0.001s */
	char line_buf[96];

	for (size_t i = 0; i < LINE_COUNT; i++) {
		fake_us += k_lines[i].bump_ms * 1000U + (k_uptime_get_32() % 900U);
		format_line(&k_lines[i], fake_us, line_buf, sizeof(line_buf));

		/* Append line + newline */
		lv_textarea_add_text(log, line_buf);
		lv_textarea_add_text(log, "\n");

		/* Auto-scroll to bottom -- textarea cursor is at end after add_text */
		lv_obj_scroll_to_y(log, lv_obj_get_scroll_bottom(log) + 1000, LV_ANIM_OFF);

		/* Flush LVGL for this line over LINE_PERIOD_MS */
		uint32_t deadline = k_uptime_get_32() + LINE_PERIOD_MS;
		while ((int32_t)(deadline - k_uptime_get_32()) > 0) {
			uint32_t s = lv_timer_handler();
			k_msleep(MIN(s, 16));
		}
	}

	/* Hold the final frame briefly */
	uint32_t deadline = k_uptime_get_32() + HOLD_MS;
	while ((int32_t)(deadline - k_uptime_get_32()) > 0) {
		uint32_t s = lv_timer_handler();
		k_msleep(MIN(s, 16));
	}

	/* Splash screen will be replaced by launcher_ui_init() loading its own
	 * screen, but delete our textarea explicitly to free LVGL memory.
	 */
	lv_obj_delete(log);
	/* Don't delete scr -- launcher_ui will load a different screen and LVGL
	 * cleans the old active screen automatically when a new one loads.
	 */
}
```

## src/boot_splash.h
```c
/*
 * Linux-style dmesg boot splash for CHD-ESP32-S3-BOX launcher.
 *
 * Renders a fullscreen black textarea and drips out fake dmesg-style log
 * lines for ~2.5s before returning. Display must be powered on (blanking
 * off) BEFORE calling this so the user sees the boot text scroll.
 */
#ifndef BOOT_SPLASH_H
#define BOOT_SPLASH_H

#include <zephyr/device.h>

/* Blocking. Returns once the splash is done and removed. */
void boot_splash_run(const struct device *display);

#endif /* BOOT_SPLASH_H */
```

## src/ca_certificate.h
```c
/*
 * ca_certificate.h
 * Used for TLS connection to dashscope.aliyuncs.com.
 *
 * DashScope currently serves *.aliyuncs.com from the GlobalSign GCC R3 OV
 * TLS CA 2024 intermediate and still sends a cross-signed Root R3. Trust the
 * current intermediate explicitly, keep the self-signed Root R3 as the stable
 * anchor, and retain the cross-signed Root R3 variant for chain building.
 */
#ifndef CA_CERTIFICATE_H
#define CA_CERTIFICATE_H

#define CA_CERTIFICATE_TAG 1
#define TLS_PEER_HOSTNAME "dashscope.aliyuncs.com"

static const unsigned char ca_certificate[] =
	"-----BEGIN CERTIFICATE-----\n"
	"MIIEmDCCA4CgAwIBAgIRAIHlq5jkbzW5HC/6F4cYyFowDQYJKoZIhvcNAQELBQAw\n"
	"TDEgMB4GA1UECxMXR2xvYmFsU2lnbiBSb290IENBIC0gUjMxEzARBgNVBAoTCkds\n"
	"b2JhbFNpZ24xEzARBgNVBAMTCkdsb2JhbFNpZ24wHhcNMjQwOTE4MDMxNDM4WhcN\n"
	"MjkwMzE4MDAwMDAwWjBTMQswCQYDVQQGEwJCRTEZMBcGA1UEChMQR2xvYmFsU2ln\n"
	"biBudi1zYTEpMCcGA1UEAxMgR2xvYmFsU2lnbiBHQ0MgUjMgT1YgVExTIENBIDIw\n"
	"MjQwggEiMA0GCSqGSIb3DQEBAQUAA4IBDwAwggEKAoIBAQC5lrgAUqYgYP+N2gEP\n"
	"Qj5OjJRX3nBisPkBYuzNql3pnu8FFO88rqziWiwNt3kR+10s8cLetPbdaV17Mgzp\n"
	"NCRcb0C3/dAYK0ZyRSS//474Jd13BP5U5F3mqUP5HOasweN0JQ5nZ1IDlELVWhRI\n"
	"3+teJr3H9X3HAGVvRDqYAGVTxuM9cR3ppuaYSroAb4A+RaDhDiGgcYHupeapDi+M\n"
	"0swhhhPoz8MU/FEATldM+1pLNjCp02tsbmxC4c9UbCGU6MZU3YoFFPRA81VUp1h2\n"
	"HkzMvDfKsPL6KaNDvxRXgi6QLBKz9CqKUhgn1y6QGZqFcliXY2n+goAgZYhqMDI4\n"
	"l4+TAgMBAAGjggFsMIIBaDAOBgNVHQ8BAf8EBAMCAYYwHQYDVR0lBBYwFAYIKwYB\n"
	"BQUHAwEGCCsGAQUFBwMCMBIGA1UdEwEB/wQIMAYBAf8CAQAwHQYDVR0OBBYEFNrT\n"
	"qAhIDDQ3WO7lp3UuWfzW3Dw4MB8GA1UdIwQYMBaAFI/wS3+oLkUkrk1Q+mOai97i\n"
	"3Ru8MHsGCCsGAQUFBwEBBG8wbTAuBggrBgEFBQcwAYYiaHR0cDovL29jc3AyLmds\n"
	"b2JhbHNpZ24uY29tL3Jvb3RyMzA7BggrBgEFBQcwAoYvaHR0cDovL3NlY3VyZS5n\n"
	"bG9iYWxzaWduLmNvbS9jYWNlcnQvcm9vdC1yMy5jcnQwNgYDVR0fBC8wLTAroCmg\n"
	"J4YlaHR0cDovL2NybC5nbG9iYWxzaWduLmNvbS9yb290LXIzLmNybDAuBgNVHSAE\n"
	"JzAlMAgGBmeBDAECAjAMBgorBgEEAaAyCgECMAsGCSsGAQQBoDIBFDANBgkqhkiG\n"
	"9w0BAQsFAAOCAQEAWQGrUUCJ1WrivLJDNIPW6ce8c2r1i/oDBMxM9X9j+TnC6rsr\n"
	"9arP6jWpZ5nMoS9z3Q91egNUd3akxoVbzcKQqEllDz+tn3IVK8e7hW4DIzC4bO7u\n"
	"r56Gyojn8+7zYS3FpenY57CVo4ihBsnTNSy+DURBbKTKFPwmoUcLsP4ry2kbFjI6\n"
	"YVgm9JcvCgaVYgVzDBZtmJrAd2kaudQ/KXHD63kuP/RrFiMhr1FJnjWD1A79TbPw\n"
	"WKnNzqBRl/ONB4xWb3LEV/nRjGN34By/UyGLnRi3qSA38j/oG25a+pUCBw1hH+Qe\n"
	"JI6wy6Il7Dat8NzQpJmYLGcaiSTY3TZl51f4xw==\n"
	"-----END CERTIFICATE-----\n"
	"-----BEGIN CERTIFICATE-----\n"
	"MIIDXzCCAkegAwIBAgILBAAAAAABIVhTCKIwDQYJKoZIhvcNAQELBQAwTDEgMB4G\n"
	"A1UECxMXR2xvYmFsU2lnbiBSb290IENBIC0gUjMxEzARBgNVBAoTCkdsb2JhbFNp\n"
	"Z24xEzARBgNVBAMTCkdsb2JhbFNpZ24wHhcNMDkwMzE4MTAwMDAwWhcNMjkwMzE4\n"
	"MTAwMDAwWjBMMSAwHgYDVQQLExdHbG9iYWxTaWduIFJvb3QgQ0EgLSBSMzETMBEG\n"
	"A1UEChMKR2xvYmFsU2lnbjETMBEGA1UEAxMKR2xvYmFsU2lnbjCCASIwDQYJKoZI\n"
	"hvcNAQEBBQADggEPADCCAQoCggEBAMwldpB5BngiFvXAg7aEyiie/QV2EcWtiHL8\n"
	"RgJDx7KKnQRfJMsuS+FggkbhUqsMgUdwbN1k0ev1LKMPgj0MK66X17YUhhB5uzsT\n"
	"gHeMCOFJ0mpiLx9e+pZo34knlTifBtc+ycsmWQ1z3rDI6SYOgxXG71uL0gRgykmm\n"
	"KPZpO/bLyCiR5Z2KYVc3rHQU3HTgOu5yLy6c+9C7v/U9AOEGM+iCK65TpjoWc4zd\n"
	"QQ4gOsC0p6Hpsk+QLjJg6VfLuQSSaGjlOCZgdbKfd/+RFO+uIEn8rUAVSNECMWEZ\n"
	"XriX7613t2Saer9fwRPvm2L7DWzgVGkWqQPabumDk3F2xmmFghcCAwEAAaNCMEAw\n"
	"DgYDVR0PAQH/BAQDAgEGMA8GA1UdEwEB/wQFMAMBAf8wHQYDVR0OBBYEFI/wS3+o\n"
	"LkUkrk1Q+mOai97i3Ru8MA0GCSqGSIb3DQEBCwUAA4IBAQBLQNvAUKr+yAzv95ZU\n"
	"RUm7lgAJQayzE4aGKAczymvmdLm6AC2upArT9fHxD4q/c2dKg8dEe3jgr25sbwMp\n"
	"jjM5RcOO5LlXbKr8EpbsU8Yt5CRsuZRj+9xTaGdWPoO4zzUhw8lo/s7awlOqzJCK\n"
	"6fBdRoyV3XpYKBovHd7NADdBj+1EbddTKJd+82cEHhXXipa0095MJ6RMG3NzdvQX\n"
	"mcIfeg7jLQitChws/zyrVQ4PkX4268NXSb7hLi18YIvDQVETI53O9zJrlAGomecs\n"
	"Mx86OyXShkDOOyyGeMlhLxS67ttVb9+E7gUJTb0o2HLO02JQZR7rkpeDMdmztcpH\n"
	"WD9f\n"
	"-----END CERTIFICATE-----\n"
	"-----BEGIN CERTIFICATE-----\n"
	"MIIETjCCAzagAwIBAgINAe5fFp3/lzUrZGXWajANBgkqhkiG9w0BAQsFADBXMQsw\n"
	"CQYDVQQGEwJCRTEZMBcGA1UEChMQR2xvYmFsU2lnbiBudi1zYTEQMA4GA1UECxMH\n"
	"Um9vdCBDQTEbMBkGA1UEAxMSR2xvYmFsU2lnbiBSb290IENBMB4XDTE4MDkxOTAw\n"
	"MDAwMFoXDTI4MDEyODEyMDAwMFowTDEgMB4GA1UECxMXR2xvYmFsU2lnbiBSb290\n"
	"IENBIC0gUjMxEzARBgNVBAoTCkdsb2JhbFNpZ24xEzARBgNVBAMTCkdsb2JhbFNp\n"
	"Z24wggEiMA0GCSqGSIb3DQEBAQUAA4IBDwAwggEKAoIBAQDMJXaQeQZ4Ihb1wIO2\n"
	"hMoonv0FdhHFrYhy/EYCQ8eyip0EXyTLLkvhYIJG4VKrDIFHcGzdZNHr9SyjD4I9\n"
	"DCuul9e2FIYQebs7E4B3jAjhSdJqYi8fXvqWaN+JJ5U4nwbXPsnLJlkNc96wyOkm\n"
	"DoMVxu9bi9IEYMpJpij2aTv2y8gokeWdimFXN6x0FNx04Druci8unPvQu7/1PQDh\n"
	"BjPogiuuU6Y6FnOM3UEOIDrAtKeh6bJPkC4yYOlXy7kEkmho5TgmYHWyn3f/kRTv\n"
	"riBJ/K1AFUjRAjFhGV64l++td7dkmnq/X8ET75ti+w1s4FRpFqkD2m7pg5NxdsZp\n"
	"hYIXAgMBAAGjggEiMIIBHjAOBgNVHQ8BAf8EBAMCAQYwDwYDVR0TAQH/BAUwAwEB\n"
	"/zAdBgNVHQ4EFgQUj/BLf6guRSSuTVD6Y5qL3uLdG7wwHwYDVR0jBBgwFoAUYHtm\n"
	"GkUNl8qJUC99BM00qP/8/UswPQYIKwYBBQUHAQEEMTAvMC0GCCsGAQUFBzABhiFo\n"
	"dHRwOi8vb2NzcC5nbG9iYWxzaWduLmNvbS9yb290cjEwMwYDVR0fBCwwKjAooCag\n"
	"JIYiaHR0cDovL2NybC5nbG9iYWxzaWduLmNvbS9yb290LmNybDBHBgNVHSAEQDA+\n"
	"MDwGBFUdIAAwNDAyBggrBgEFBQcCARYmaHR0cHM6Ly93d3cuZ2xvYmFsc2lnbi5j\n"
	"b20vcmVwb3NpdG9yeS8wDQYJKoZIhvcNAQELBQADggEBACNw6c/ivvVZrpRCb8RD\n"
	"M6rNPzq5ZBfyYgZLSPFAiAYXof6r0V88xjPy847dHx0+zBpgmYILrMf8fpqHKqV9\n"
	"D6ZX7qw7aoXW3r1AY/itpsiIsBL89kHfDwmXHjjqU5++BfQ+6tOfUBJ2vgmLwgtI\n"
	"fR4uUfaNU9OrH0Abio7tfftPeVZwXwzTjhuzp3ANNyuXlava4BJrHEDOxcd+7cJi\n"
	"WOx37XMiwor1hkOIreoTbv3Y/kIvuX1erRjvlJDKPSerJpSZdcfL03v3ykzTr1Eh\n"
	"kluEfSufFT90y1HonoMOFm8b50bOI7355KKL0jlrqnkckSziYSQtjipIcJDEHsXo\n"
	"4HA=\n"
	"-----END CERTIFICATE-----\n";

#endif /* CA_CERTIFICATE_H */
```

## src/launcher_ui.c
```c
/*
 * launcher_ui.c — Desktop home screen: status bar + icon grid
 *
 * Layout (320×240):
 *   ┌─────────────────────────────────────┐
 *   │  Status Bar (24px)  BLE: ...        │
 *   ├─────────────────────────────────────┤
 *   │  ┌──┐  ┌──┐  ┌──┐  ┌──┐           │
 *   │  │AI│  │CAM│  │NES│  │PH│  Row 1   │
 *   │  └──┘  └──┘  └──┘  └──┘           │
 *   │  ┌──┐  ┌──┐  ┌──┐  ┌──┐           │
 *   │  │TER│ │MUS│ │FAC│ │IMU│  Row 2   │
 *   │  └──┘  └──┘  └──┘  └──┘           │
 *   └─────────────────────────────────────┘
 */

#include <zephyr/kernel.h>
#include <zephyr/sys/printk.h>
#include <lvgl.h>
#include "launcher_ui.h"
#include "app_manager.h"
#include "resource.h"

static lv_obj_t *home_screen;
static lv_obj_t *status_label;

/* ── Icon click handler ──────────────────────────────── */

static void icon_click_cb(lv_event_t *e)
{
	int app_id = (int)(intptr_t)lv_event_get_user_data(e);
	app_manager_launch(app_id);
}

/* ── Create one icon tile ────────────────────────────── */

static lv_obj_t *create_icon(lv_obj_t *parent, int app_id,
			     lv_coord_t x, lv_coord_t y)
{
	const app_info_t *app = app_manager_get(app_id);
	if (!app) {
		return NULL;
	}

	/* Container for icon + label */
	lv_obj_t *cont = lv_obj_create(parent);
	lv_obj_remove_style_all(cont);
	lv_obj_set_size(cont, ICON_SIZE + 8, ICON_SIZE + ICON_LABEL_H + 4);
	lv_obj_set_pos(cont, x, y);
	lv_obj_clear_flag(cont, LV_OBJ_FLAG_SCROLLABLE);

	/* Colored square icon — raised neumorphic card */
	lv_obj_t *icon = lv_obj_create(cont);
	lv_obj_remove_style_all(icon);
	lv_obj_set_size(icon, ICON_SIZE, ICON_SIZE);
	lv_obj_align(icon, LV_ALIGN_TOP_MID, 0, 0);
	lv_obj_set_style_bg_color(icon, app->icon_color, 0);
	lv_obj_set_style_bg_opa(icon, LV_OPA_COVER, 0);
	lv_obj_set_style_radius(icon, 12, 0);
	lv_obj_set_style_shadow_width(icon, 6, 0);
	lv_obj_set_style_shadow_offset_x(icon, 2, 0);
	lv_obj_set_style_shadow_offset_y(icon, 3, 0);
	lv_obj_set_style_shadow_color(icon, lv_color_hex(0xB8BEC9), 0);
	lv_obj_set_style_shadow_opa(icon, LV_OPA_50, 0);
	lv_obj_add_flag(icon, LV_OBJ_FLAG_CLICKABLE);
	lv_obj_add_event_cb(icon, icon_click_cb, LV_EVENT_CLICKED,
			    (void *)(intptr_t)app_id);

	/* Symbol on icon */
	lv_obj_t *sym = lv_label_create(icon);
	lv_label_set_text(sym, app->icon_symbol ? app->icon_symbol : "?");
	lv_obj_set_style_text_color(sym, lv_color_white(), 0);
	lv_obj_set_style_text_font(sym, &lv_font_montserrat_28, 0);
	lv_obj_center(sym);

	/* Name label below icon — dark gray on light bg */
	lv_obj_t *lbl = lv_label_create(cont);
	lv_label_set_text(lbl, app->name);
	lv_obj_set_style_text_color(lbl, lv_color_hex(0x374151), 0);
	lv_obj_set_style_text_font(lbl, &lv_font_source_han_sans_sc_16_cjk, 0);
	lv_obj_align(lbl, LV_ALIGN_BOTTOM_MID, 0, 0);

	/* Add icon to keyboard group for focus navigation */
	lv_group_t *group = app_manager_get_kb_group();
	if (group) {
		lv_group_add_obj(group, icon);
	}

	return cont;
}

/* ── Public API ──────────────────────────────────────── */

void launcher_ui_init(void)
{
	int count = app_manager_get_count();

	/* Create home screen — light neumorphic background */
	home_screen = lv_obj_create(NULL);
	lv_obj_set_style_bg_color(home_screen, lv_color_hex(0xE6E9EF), 0);
	lv_obj_set_style_bg_opa(home_screen, LV_OPA_COVER, 0);
	lv_obj_clear_flag(home_screen, LV_OBJ_FLAG_SCROLLABLE);

	/* Status bar background — white card with subtle shadow */
	lv_obj_t *bar = lv_obj_create(home_screen);
	lv_obj_remove_style_all(bar);
	lv_obj_set_size(bar, SCREEN_WIDTH, STATUS_BAR_HEIGHT);
	lv_obj_align(bar, LV_ALIGN_TOP_LEFT, 0, 0);
	lv_obj_set_style_bg_color(bar, lv_color_hex(0xFFFFFF), 0);
	lv_obj_set_style_bg_opa(bar, LV_OPA_COVER, 0);
	lv_obj_set_style_shadow_width(bar, 6, 0);
	lv_obj_set_style_shadow_offset_y(bar, 2, 0);
	lv_obj_set_style_shadow_color(bar, lv_color_hex(0xB8BEC9), 0);
	lv_obj_set_style_shadow_opa(bar, LV_OPA_40, 0);

	/* Status label — accent green on white */
	status_label = lv_label_create(bar);
	lv_label_set_text(status_label, "BLE: Scanning...");
	lv_obj_set_style_text_color(status_label, lv_color_hex(0x10B981), 0);
	lv_obj_set_style_text_font(status_label, &lv_font_source_han_sans_sc_16_cjk, 0);
	lv_obj_align(status_label, LV_ALIGN_LEFT_MID, 8, 0);

	/* Title on right side — accent indigo */
	lv_obj_t *title = lv_label_create(bar);
	lv_label_set_text(title, "Zephyr-Card");
	lv_obj_set_style_text_color(title, lv_color_hex(0x6366F1), 0);
	lv_obj_set_style_text_font(title, &lv_font_source_han_sans_sc_16_cjk, 0);
	lv_obj_align(title, LV_ALIGN_RIGHT_MID, -8, 0);

	/* ── Icon Grid ── */
	int cols = ICON_COLS;
	int icon_total_w = ICON_SIZE + 8;
	int icon_total_h = ICON_SIZE + ICON_LABEL_H + 4;
	int grid_w = cols * icon_total_w + (cols - 1) * ICON_PADDING;
	int grid_h = ICON_ROWS * icon_total_h + (ICON_ROWS - 1) * ICON_PADDING;
	int x_start = (SCREEN_WIDTH - grid_w) / 2;
	int y_start = STATUS_BAR_HEIGHT +
		      (SCREEN_HEIGHT - STATUS_BAR_HEIGHT - grid_h) / 2;

	for (int i = 0; i < count && i < ICON_COLS * ICON_ROWS; i++) {
		int col = i % cols;
		int row = i / cols;
		int x = x_start + col * (icon_total_w + ICON_PADDING);
		int y = y_start + row * (icon_total_h + ICON_PADDING);
		create_icon(home_screen, i, x, y);
	}

	/* Register home screen with app manager */
	app_manager_set_home_screen(home_screen);

	/* Load home screen */
	lv_screen_load(home_screen);

	printk("[UI] Launcher home screen ready (%d apps)\n", count);
}

void launcher_ui_update_status(const char *ble_status)
{
	if (status_label && !app_manager_is_app_active()) {
		lv_label_set_text(status_label, ble_status);
	}
}
```

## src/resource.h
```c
/*
 * resource.h — Shared constants and declarations for Launcher
 */

#ifndef RESOURCE_H
#define RESOURCE_H

#define SCREEN_WIDTH  320
#define SCREEN_HEIGHT 240

/* Backlight: IO47 = GPIO1 pin 15 */
#define BLK_NODE DT_NODELABEL(gpio1)
#define BLK_PIN  15

/* Status bar height */
#define STATUS_BAR_HEIGHT 24

/* Icon grid layout */
#define ICON_COLS     4
#define ICON_ROWS     2
#define ICON_SIZE     56
#define ICON_PADDING  12
#define ICON_LABEL_H  16

#endif /* RESOURCE_H */
```
